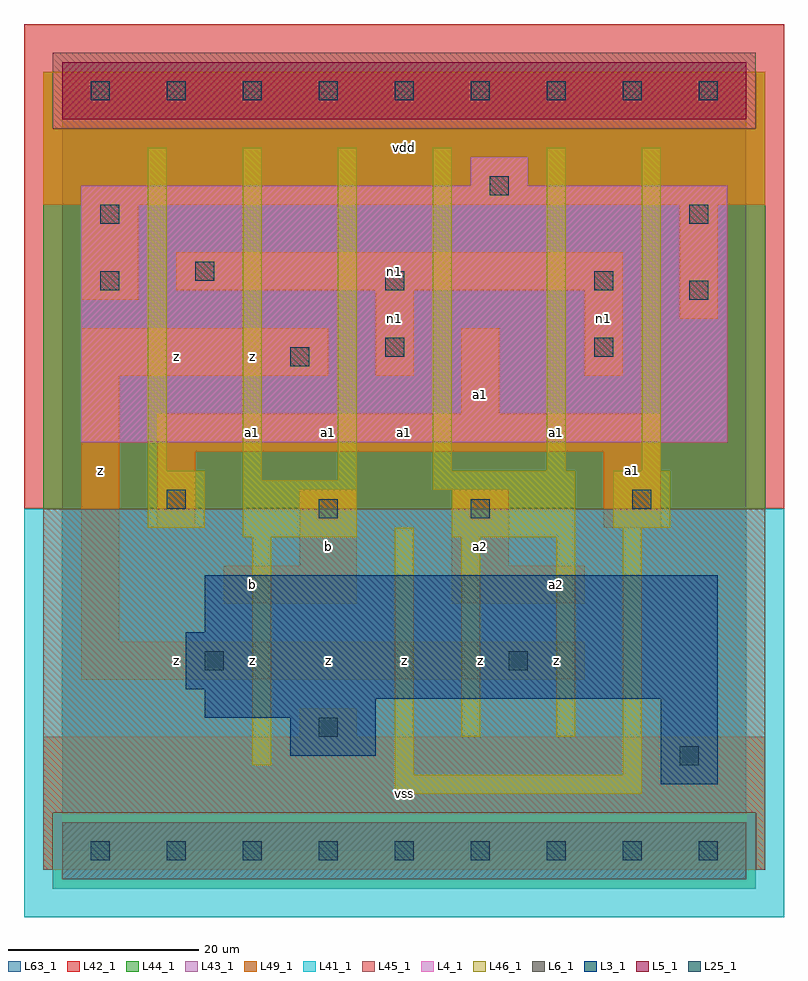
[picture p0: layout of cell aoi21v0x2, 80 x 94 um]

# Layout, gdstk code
import gdstk
lib = gdstk.Library(unit=1e-6, precision=1e-09)
def R(c, l, rs):  # rectangles x0, y0, x1, y1
    for r in rs: c.add(gdstk.rectangle(r[:2], r[2:], *l))
def A(c, l, x, y, w, h, nx, ny, dx, dy):  # array of equal rectangles
    R(c, l, [(x+i*dx, y+j*dy, x+i*dx+w, y+j*dy+h) for i in range(nx) for j in range(ny)])
L3_1 = (3, 1)
L4_1 = (4, 1)
L5_1 = (5, 1)
L6_1 = (6, 1)
L25_1 = (25, 1)
L41_1 = (41, 1)
L42_1 = (42, 1)
L43_1 = (43, 1)
L44_1 = (44, 1)
L45_1 = (45, 1)
L46_1 = (46, 1)
L49_1 = (49, 1)
L63_1 = (63, 1)

aoi21v0x2 = lib.new_cell('aoi21v0x2')
R(aoi21v0x2, L3_1, [(63,7,69,16), (24,10,33,14), (15,14,33,16), (15,16,69,17), (13,17,69,23), (15,23,69,29)])
R(aoi21v0x2, L4_1, [(2,43,70,70), (43,70,49,73)])
R(aoi21v0x2, L5_1, [(0,77,72,83)])
R(aoi21v0x2, L6_1, [(0,-3,72,3), (0,-3,72,3)])
A(aoi21v0x2, L25_1, 3, -1, 2, 2, 9, 2, 8, 80)
R(aoi21v0x2, L25_1, [(65,9,67,11), (27,12,29,14), (15,19,17,21), (47,19,49,21), (27,35,29,37), (43,35,45,37), (11,36,13,38), (60,36,62,38), (24,51,26,53), (34,52,36,54), (56,52,58,54), (66,58,68,60), (4,59,6,61), (34,59,36,61), (56,59,58,61), (14,60,16,62), (4,66,6,68), (66,66,68,68), (45,69,47,71)])
R(aoi21v0x2, L41_1, [(-4,-7,76,36)])
R(aoi21v0x2, L42_1, [(-4,36,76,87)])
R(aoi21v0x2, L43_1, [(0,-3,72,3), (63,7,69,16), (24,10,33,14), (15,14,33,16), (15,16,69,17), (13,17,69,23), (15,23,69,29), (2,43,70,70), (43,70,49,73), (0,77,72,83)])
R(aoi21v0x2, L44_1, [(-1,-4,73,4), (-2,36,74,76), (-2,76,-1,82), (73,76,74,82)])
R(aoi21v0x2, L45_1, [(-2,-2,-1,4), (73,-2,74,4), (-2,4,74,36), (-1,76,73,84)])
R(aoi21v0x2, L46_1, [(35,6,61,8), (35,8,37,34), (59,8,61,34), (20,9,22,33), (42,12,44,33), (52,12,54,33), (19,33,31,39), (41,33,54,38), (9,34,15,40), (58,34,64,40), (39,38,54,40), (19,39,21,74), (29,39,31,74), (9,40,11,74), (39,40,41,74), (51,40,53,74), (61,40,63,74)])
R(aoi21v0x2, L49_1, [(-2,-2,74,12), (25,12,31,15), (2,18,55,22), (2,22,6,50), (17,26,31,30), (41,26,55,30), (25,30,31,38), (41,30,47,38), (10,34,14,42), (57,34,63,42), (10,42,63,46), (42,46,46,55), (2,50,28,55), (33,50,37,59), (55,50,59,59), (65,56,69,68), (2,58,8,68), (12,59,59,63), (-2,68,74,82)])
R(aoi21v0x2, L63_1, [(0,0,72,80)])
aoi21v0x2.add(gdstk.Label('z', (4,40), layer=49, texttype=1))
aoi21v0x2.add(gdstk.Label('z', (12,20), layer=49, texttype=1))
aoi21v0x2.add(gdstk.Label('z', (20,20), layer=49, texttype=1))
aoi21v0x2.add(gdstk.Label('b', (20,28), layer=49, texttype=1))
aoi21v0x2.add(gdstk.Label('a1', (20,44), layer=49, texttype=1))
aoi21v0x2.add(gdstk.Label('z', (20,52), layer=49, texttype=1))
aoi21v0x2.add(gdstk.Label('z', (12,52), layer=49, texttype=1))
aoi21v0x2.add(gdstk.Label('vss', (36,6), layer=49, texttype=1))
aoi21v0x2.add(gdstk.Label('z', (28,20), layer=49, texttype=1))
aoi21v0x2.add(gdstk.Label('z', (36,20), layer=49, texttype=1))
aoi21v0x2.add(gdstk.Label('b', (28,32), layer=49, texttype=1))
aoi21v0x2.add(gdstk.Label('a1', (28,44), layer=49, texttype=1))
aoi21v0x2.add(gdstk.Label('a1', (36,44), layer=49, texttype=1))
aoi21v0x2.add(gdstk.Label('n1', (35,56), layer=49, texttype=1))
aoi21v0x2.add(gdstk.Label('vdd', (36,74), layer=49, texttype=1))
aoi21v0x2.add(gdstk.Label('z', (44,20), layer=49, texttype=1))
aoi21v0x2.add(gdstk.Label('z', (52,20), layer=49, texttype=1))
aoi21v0x2.add(gdstk.Label('a2', (52,28), layer=49, texttype=1))
aoi21v0x2.add(gdstk.Label('a2', (44,32), layer=49, texttype=1))
aoi21v0x2.add(gdstk.Label('a1', (52,44), layer=49, texttype=1))
aoi21v0x2.add(gdstk.Label('a1', (44,48), layer=49, texttype=1))
aoi21v0x2.add(gdstk.Label('a1', (60,40), layer=49, texttype=1))
aoi21v0x2.add(gdstk.Label('n1', (57,56), layer=49, texttype=1))
aoi21v0x2.add(gdstk.Label('n1', (35,61), layer=49, texttype=1))

lib.write_gds('aoi21v0x2.gds')
